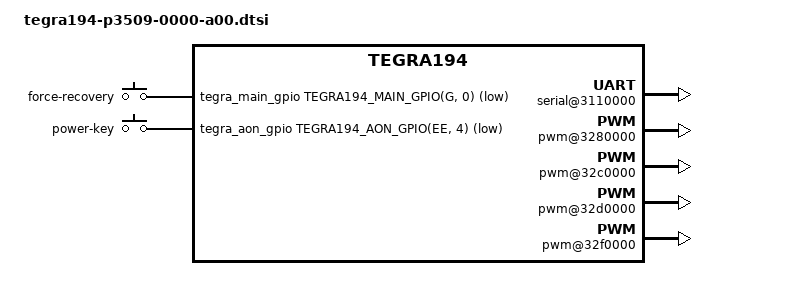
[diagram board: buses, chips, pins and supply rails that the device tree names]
/*
 * Copyright (c) 2019-2021, NVIDIA CORPORATION.  All rights reserved.
 *
 * This program is free software; you can redistribute it and/or modify
 * it under the terms of the GNU General Public License as published by
 * the Free Software Foundation; version 2 of the License.
 *
 * This program is distributed in the hope that it will be useful, but WITHOUT
 * ANY WARRANTY; without even the implied warranty of MERCHANTABILITY or
 * FITNESS FOR A PARTICULAR PURPOSE.  See the GNU General Public License for
 * more details.
 */
#include <dt-bindings/gpio/tegra194-gpio.h>
#include "dt-bindings/input/input.h"
#include "tegra194-fixed-regulator-p3509-0000-a00.dtsi"
#include "tegra194-p3509-disp.dtsi"
#include "tegra194-audio-p3668.dtsi"
#include "tegra194-super-module-e2614-p3509.dtsi"
//#include "tegra194-camera-jakku-rbpcv3-imx477.dtsi"
//#include "tegra194-camera-jakku-rbpcv2-imx219.dtsi"
/ {
	gpio-keys {
		compatible = "gpio-keys";
		gpio-keys,name = "gpio-keys";

		forcerecovery {
			label = "force-recovery";
			gpios = <&tegra_main_gpio TEGRA194_MAIN_GPIO(G, 0) GPIO_ACTIVE_LOW>;
			linux,code = <BTN_1>;
		};

		power_key {
			label = "power-key";
			gpios = <&tegra_aon_gpio TEGRA194_AON_GPIO(EE, 4) GPIO_ACTIVE_LOW>;
			linux,code = <KEY_POWER>;
			gpio-key,wakeup;
		};
	};
	eeprom-manager {
		data-size = <0x100>;
		bus@0 {
			i2c-bus = <&gen1_i2c>;
			eeprom@1 {
				slave-address = <0x57>;
				label = "cvb";
			};
		};

		bus@1 {
			i2c-bus = <&gen2_i2c>;
			eeprom@1 {
				slave-address = <0x50>;
				label = "super-module";
			};
		};
	};
	pwm-fan {
		pwms = <&tegra_pwm6 0 45334>;
		vdd-fan-supply = <&p3509_vdd_fan>;
		profiles {
			default = "quiet";
			quiet {
				state_cap = <4>;
				active_pwm = <0 130 160 200 255 255 255 255 255 255>;
			};
			cool {
				state_cap = <4>;
				active_pwm = <0 140 170 200 255 255 255 255 255 255>;
			};
		};
	};
	thermal-fan-est {
		profiles {
			default = "quiet";
			quiet {
				active_trip_temps = <0 46000 60000 68000 76000
						140000 150000 160000 170000 180000>;
				active_hysteresis = <0 8000 8000 7000 7000
						0 0 0 0 0>;
			};
			cool {
				active_trip_temps = <0 35000 45000 53000 61000
						140000 150000 160000 170000 180000>;
				active_hysteresis = <0 8000 8000 7000 7000
						0 0 0 0 0>;
			};
		};
	};
	serial@3110000 {
		status = "okay";
	};
	tachometer@39c0000 {
		status = "okay";
	};
	pwm@3280000 {
		status = "okay";
	};

	pwm@32c0000 {
		status = "okay";
	};

	pwm@32d0000 {
		status = "okay";
	};

	pwm@32f0000 {
		status = "okay";
	};
	spi@c260000 {
		status = "disabled";
	};

	spi@3300000 {
		status = "disabled";
	};

	gpio@2200000 {
		/* gpio-name for 40-pin header, gpio-name given as COL(10) x ROW(24),
		   Tegra-GPIO starts from 288 */
		gpio-line-names = "",   "",     "",     "",     "",     "",     "",     "",     "",     "",
		"",     "",     "",     "",     "",     "",     "",     "",     "",     "",
		"",     "",     "",     "",     "",     "",     "",     "",     "",     "",
		"",     "",     "",     "",     "",     "",     "",     "",     "",     "",
		"",     "",     "",     "",     "",     "",     "",     "",     "",     "",
		"",     "",     "",     "",     "",     "",     "",     "",     "",     "",
		"",     "",     "",     "",     "",     "",     "",     "",     "",     "",
		"",     "",     "",     "",     "",     "",     "",     "",     "",     "",
		"",     "",     "",     "",     "",     "",     "",     "",     "",     "",
		"",     "",     "",     "",     "",     "",     "",     "",     "",     "",
		"",     "",     "",     "",     "",     "GPIO13",     "",     "",     "",     "",
		"",     "",     "",     "",     "",     "",     "",     "",     "",     "",
		"",     "",     "",     "",     "",     "",     "",     "",     "",     "",
		"",     "",     "",     "GPIO01",     "GPIO11",     "",     "GPIO07",     "",     "",     "",
		"UART1_RTS",     "UART1_CTS",     "",     "",     "",     "",     "",     "",     "GPIO09",     "",
		"",     "",     "",     "",     "",     "",     "",     "I2S0_SCLK",     "I2S0_DOUT",     "I2S0_DIN",
		"I2S0_FS",     "",     "",     "",     "",     "",     "",     "",     "",     "",
		"",     "",     "",     "",     "",     "",     "",     "",     "",     "",
		"",     "",     "",     "",     "",     "",     "",     "",     "",     "",
		"",     "",     "SPI1_SCK",     "SPI1_MISO",     "SPI1_MOSI",     "SPI1_CS0",     "SPI1_CS1",     "",     "",     "",
		"",     "",     "",     "SPI0_SCK",     "SPI0_MISO",     "SPI0_MOSI",     "SPI0_CS0",     "SPI0_CS1",     "",     "",
		"",     "",     "",     "",     "",     "",     "",     "",     "",     "",
		"",     "",     "",     "";
	};

	gpio@c2f0000 {
		/* gpio-name for 40-pin header, gpio-name given as COL(10) x ROW(2),
		   Tegra-AON-GPIO starts from 248 */
		gpio-line-names = "",   "",     "",     "",     "",     "",     "",     "",     "",     "",
		"",     "",     "",     "",     "",     "",     "",     "",     "",     "",
		"GPIO12", "",  "",     "",     "",     "",     "",     "",     "",     "",
		"",     "",     "",     "",     "",     "",     "",     "",     "",     "";
	};
};
